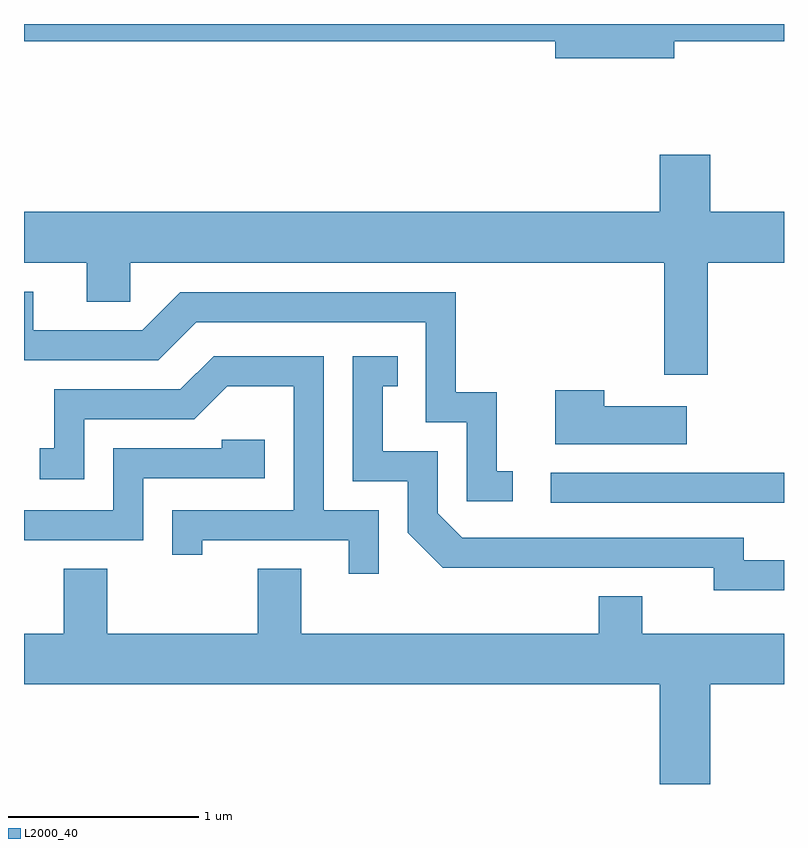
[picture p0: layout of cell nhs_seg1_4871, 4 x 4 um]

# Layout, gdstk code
import gdstk
lib = gdstk.Library(unit=1e-6, precision=1e-09)
def R(c, l, rs):  # rectangles x0, y0, x1, y1
    for r in rs: c.add(gdstk.rectangle(r[:2], r[2:], *l))
def P(c, l, *ps):  # polygons
    for p in ps: c.add(gdstk.Polygon(p, *l))
L2000_40 = (2000, 40)

nhs_seg1_4871 = lib.new_cell('nhs_seg1_4871')
R(nhs_seg1_4871, L2000_40, [(334.383,907.191,335.611,907.349)])
P(nhs_seg1_4871, L2000_40, [(335.034,909.621),(335.611,909.621),(335.611,909.712),(331.611,909.712),(331.611,909.621),(334.406,909.621),(334.406,909.531),(335.034,909.531)],
  [(335.209,908.456),(335.611,908.456),(335.611,908.724),(335.224,908.724),(335.224,909.024),(334.956,909.024),(334.956,908.724),(331.611,908.724),(331.611,908.456),(331.941,908.456),(331.941,908.251),(332.169,908.251),(332.169,908.456),(334.981,908.456),(334.981,907.866),(335.209,907.866)],
  [(334.183,907.359),(334.099,907.359),(334.099,907.774),(333.884,907.774),(333.884,908.299),(332.434,908.299),(332.234,908.099),(331.659,908.099),(331.659,908.304),(331.611,908.304),(331.611,907.941),(332.317,907.941),(332.517,908.141),(333.726,908.141),(333.726,907.616),(333.941,907.616),(333.941,907.201),(334.183,907.201)],
  [(333.479,907.154),(333.189,907.154),(333.189,907.964),(332.609,907.964),(332.434,907.789),(331.771,907.789),(331.771,907.479),(331.693,907.479),(331.693,907.316),(331.929,907.316),(331.929,907.631),(332.507,907.631),(332.682,907.806),(333.031,907.806),(333.031,907.154),(332.391,907.154),(332.391,906.918),(332.549,906.918),(332.549,906.996),(333.321,906.996),(333.321,906.818),(333.479,906.818)],
  [(335.611,906.889),(335.399,906.889),(335.399,907.009),(333.917,907.009),(333.789,907.137),(333.789,907.464),(333.499,907.464),(333.499,907.806),(333.578,907.806),(333.578,907.964),(333.341,907.964),(333.341,907.306),(333.631,907.306),(333.631,907.034),(333.814,906.851),(335.241,906.851),(335.241,906.731),(335.611,906.731)],
  [(335.099,907.699),(334.664,907.699),(334.664,907.784),(334.406,907.784),(334.406,907.501),(335.099,907.501)],
  [(332.239,907.321),(332.879,907.321),(332.879,907.524),(332.651,907.524),(332.651,907.479),(332.081,907.479),(332.081,907.154),(331.611,907.154),(331.611,906.996),(332.239,906.996)],
  [(335.224,906.236),(335.611,906.236),(335.611,906.504),(334.864,906.504),(334.864,906.699),(334.636,906.699),(334.636,906.504),(333.069,906.504),(333.069,906.844),(332.841,906.844),(332.841,906.504),(332.049,906.504),(332.049,906.844),(331.821,906.844),(331.821,906.504),(331.611,906.504),(331.611,906.236),(334.956,906.236),(334.956,905.712),(335.224,905.712)])

lib.write_gds('nhs_seg1_4871.gds')
